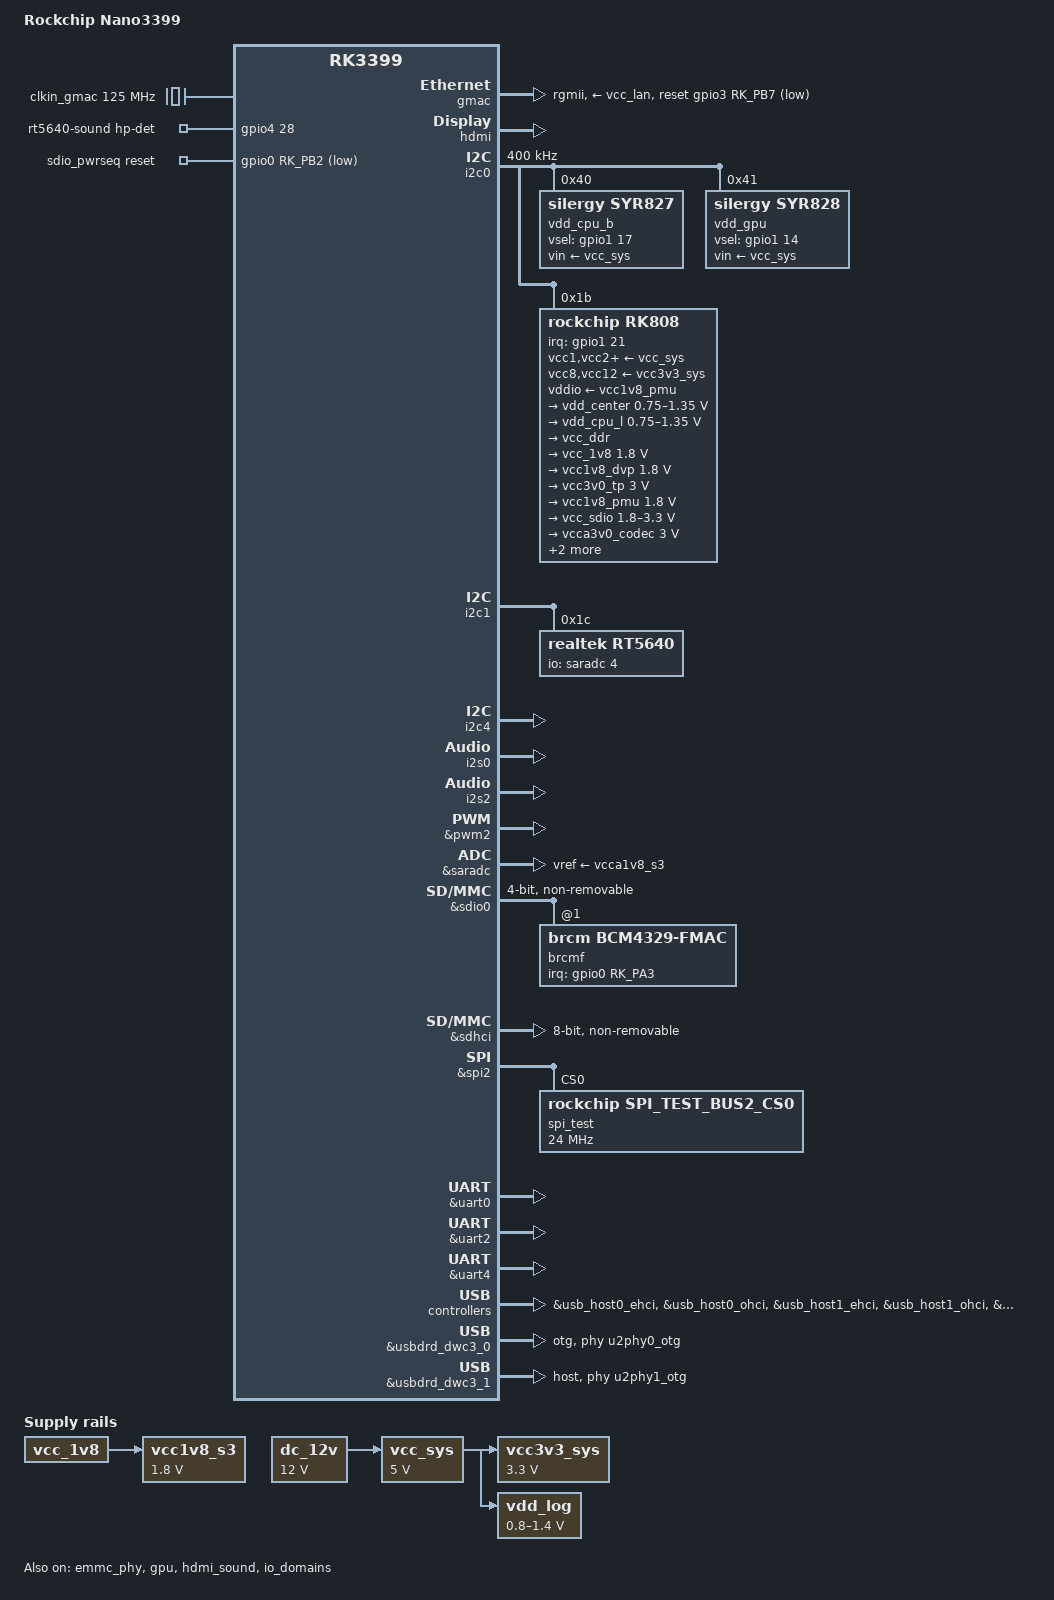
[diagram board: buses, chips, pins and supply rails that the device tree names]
// SPDX-License-Identifier: (GPL-2.0+ OR MIT)

/dts-v1/;
#include <dt-bindings/input/linux-event-codes.h>
#include <dt-bindings/pwm/pwm.h>
#include <dt-bindings/input/input.h>
#include "rk3399.dtsi"

/ {
	model = "Rockchip Nano3399";
	compatible = "rockchip,nano3399", "rockchip,rk3399";

	aliases {
		mmc0 = &sdio0;
		mmc1 = &sdmmc;
		mmc2 = &sdhci;
	};

	chosen {
		stdout-path = "serial2:1500000n8";
	};

	clkin_gmac: external-gmac-clock {
		compatible = "fixed-clock";
		clock-frequency = <125000000>;
		clock-output-names = "clkin_gmac";
		#clock-cells = <0>;
	};

	rt5640-sound {
                compatible = "simple-audio-card";
                simple-audio-card,format = "i2s";
                simple-audio-card,name = "rockchip,rt5640-codec";
                simple-audio-card,mclk-fs = <256>;
                simple-audio-card,widgets =
                        "Microphone", "Mic Jack",
                        "Headphone", "Headphone Jack",
                        "Speaker", "Speaker";
                simple-audio-card,routing =
                        "Mic Jack", "MICBIAS1",
                        "IN1P", "Mic Jack",
                        "Headphone Jack", "HPOL",
                        "Headphone Jack", "HPOR",
                        "Speaker", "SPOLP",
                        "Speaker", "SPOLN",
                        "Speaker", "SPORP",
                        "Speaker", "SPORN";
                pinctrl-names = "default";
                pinctrl-0 = <&rt5640_hp_det_gpio>;
                simple-audio-card,hp-det-gpio = <&gpio4 28 GPIO_ACTIVE_HIGH>;
                simple-audio-card,cpu {
                        sound-dai = <&i2s0>;
                };
                simple-audio-card,codec {
                        sound-dai = <&rt5640>;
                };
        };

	rp_power{
            compatible = "rp_power";
        rp_not_deep_sleep = <1>;
            status = "okay";

            /*
         * #define GPIO_FUNCTION_OUTPUT 0
         * #define GPIO_FUNCTION_INPUT 1
         * #define GPIO_FUNCTION_IRQ 2
         * #define GPIO_FUNCTION_FLASH 3
         * #define GPIO_FUNCTION_OUTPUT_CTRL 4 //output and creat proc ctrl
         *
         * you can define the gpio function as above
         * on gpio_function = <>;
     *
     *If you want to set the uboot to high level, add the lower properties
     *    regulator_uboot_on
         */

            vdd_en { //vdd5v and vdd_io power en
                    gpio_num = <&gpio4 RK_PD6 GPIO_ACTIVE_HIGH>;
                    gpio_function = <4>;
                    regulator_uboot_on;
            };

            host_en { //usb2.0 and 3.0 host 5v power en
                    gpio_num = <&gpio4 RK_PD1 GPIO_ACTIVE_HIGH>;
                    gpio_function = <4>;
                    regulator_uboot_on;
            };

            //fan { //fan en
            //        gpio_num = <&gpio1 RK_PC2 GPIO_ACTIVE_HIGH>;
            //        gpio_function = <4>;
            //        regulator_uboot_on;
            //};

            vdd_3g {    //vdd 3G power en
                    gpio_num = <&gpio4 RK_PC6 GPIO_ACTIVE_HIGH>;
                    gpio_function = <4>;
                    regulator_uboot_on;
            };

            run_led {    //LED for indicate system is runing
                    gpio_num = <&gpio4 RK_PD0 GPIO_ACTIVE_HIGH>;
                    gpio_function = <3>;
                    regulator_uboot_on;
            };

        };

        rp_gpio {
                status = "okay";
                compatible = "rp_gpio";
                base_value = <0>; //3288_5.1 = 0   3288_7.1.2 = 992  3288_ubuntu = 992   3399_7.1.2 = 1000 3399_ubuntu = 0

        gpio1a1 {
                    gpio_num = <&gpio1 RK_PA1 GPIO_ACTIVE_HIGH>;
                        gpio_function = <0>;            //0:output，1:input
                };

                gpio1a2 {
                        gpio_num = <&gpio1 RK_PA2 GPIO_ACTIVE_HIGH>;
                        gpio_function = <0>;            //0:output，1:input
                };

                gpio1a3 {
                        gpio_num = <&gpio1 RK_PA3 GPIO_ACTIVE_HIGH>;
                        gpio_function = <0>;            //0:output，1:input
                };

        gpio1c7 {
                    gpio_num = <&gpio1 RK_PC7 GPIO_ACTIVE_HIGH>;
                        gpio_function = <0>;            //0:output，1:input
                };
    };

	dc_12v: dc-12v {
        compatible = "regulator-fixed";
        regulator-name = "dc_12v";
        regulator-always-on;
        regulator-boot-on;
        regulator-min-microvolt = <12000000>;
        regulator-max-microvolt = <12000000>;
    };

    vcc1v8_s3: vcca1v8_s3: vcc1v8-s3 {
        compatible = "regulator-fixed";
        regulator-name = "vcc1v8_s3";
        regulator-always-on;
        regulator-boot-on;
        regulator-min-microvolt = <1800000>;
        regulator-max-microvolt = <1800000>;
        vin-supply = <&vcc_1v8>;
    };

    vcc3v0_sd: vcc3v0-sd {
        status = "disabled";
        compatible = "regulator-fixed";
        enable-active-high;
        gpio = <&gpio0 RK_PA1 GPIO_ACTIVE_HIGH>;
        pinctrl-names = "default";
        pinctrl-0 = <&sdmmc0_pwr_h>;
        regulator-always-on;
        regulator-max-microvolt = <3000000>;
        regulator-min-microvolt = <3000000>;
        regulator-name = "vcc3v0_sd";
        vin-supply = <&vcc3v3_sys>;
    };

    vcc3v3_sys: vcc3v3-sys {
        compatible = "regulator-fixed";
        regulator-name = "vcc3v3_sys";
        regulator-always-on;
        regulator-boot-on;
        regulator-min-microvolt = <3300000>;
        regulator-max-microvolt = <3300000>;
        vin-supply = <&vcc_sys>;
    };

    vcc_sys: vcc-sys {
        compatible = "regulator-fixed";
        regulator-name = "vcc_sys";
        regulator-always-on;
        regulator-boot-on;
        regulator-min-microvolt = <5000000>;
        regulator-max-microvolt = <5000000>;
        vin-supply = <&dc_12v>;
    };

    vdd_log: vdd-log {
        compatible = "pwm-regulator";
        pwms = <&pwm2 0 25000 1>;
        regulator-name = "vdd_log";
        regulator-always-on;
        regulator-boot-on;
        regulator-min-microvolt = <800000>;
        regulator-init-microvolt = <1050000>;
        regulator-max-microvolt = <1400000>;
		vin-supply = <&vcc_sys>;
    };

    spdif-sound {
        status = "disabled";
        compatible = "simple-audio-card";
        simple-audio-card,name = "ROCKCHIP,SPDIF";
        simple-audio-card,cpu {
            sound-dai = <&spdif>;
        };
        simple-audio-card,codec {
            sound-dai = <&spdif_out>;
        };
    };

    spdif_out: spdif-out {
        status = "disabled";
        compatible = "linux,spdif-dit";
        #sound-dai-cells = <0>;
    };

    sdio_pwrseq: sdio-pwrseq {
		compatible = "mmc-pwrseq-simple";
		clocks = <&rk808 1>;
		clock-names = "ext_clock";
		pinctrl-names = "default";
		pinctrl-0 = <&wifi_enable_h>;

		/*
		 * On the module itself this is one of these (depending
		 * on the actual card populated):
		 * - SDIO_RESET_L_WL_REG_ON
		 * - PDN (power down when low)
		 */
		reset-gpios = <&gpio0 RK_PB2 GPIO_ACTIVE_LOW>;
	};
};
&cpu_l0 {
    cpu-supply = <&vdd_cpu_l>;
};

&cpu_l1 {
    cpu-supply = <&vdd_cpu_l>;
};

&cpu_l2 {
    cpu-supply = <&vdd_cpu_l>;
};

&cpu_l3 {
    cpu-supply = <&vdd_cpu_l>;
};

&cpu_b0 {
    cpu-supply = <&vdd_cpu_b>;
};

&cpu_b1 {
    cpu-supply = <&vdd_cpu_b>;
};

&cpu_thermal {
    trips {
        cpu_hot: cpu_hot {
            hysteresis = <10000>;
            temperature = <55000>;
            type = "active";
        };
    };

    cooling-maps {
        map2 {
            //cooling-device =
            //    <&fan0 THERMAL_NO_LIMIT THERMAL_NO_LIMIT>;
            trip = <&cpu_hot>;
        };
    };
};

&emmc_phy {
	status = "okay";
};

&gpu {
    mali-supply = <&vdd_gpu>;
    status = "okay";
};


&dfi {
    status = "disabled";
};

&gmac {
    assigned-clocks = <&cru SCLK_RMII_SRC>;
    assigned-clock-parents = <&clkin_gmac>;
    clock_in_out = "input";
    phy-supply = <&vcc_lan>;
    phy-mode = "rgmii";
    pinctrl-names = "default";
    pinctrl-0 = <&rgmii_pins>;
    snps,reset-gpio = <&gpio3 RK_PB7 GPIO_ACTIVE_LOW>;
    snps,reset-active-low;
    snps,reset-delays-us = <0 10000 50000>;
    tx_delay = <0x28>;
    rx_delay = <0x11>;
    status = "okay";
};

&hdmi {
    status = "okay";
    pinctrl-names = "default";
    pinctrl-0 = <&hdmi_i2c_xfer>;
    #address-cells = <1>;
    #size-cells = <0>;
    #sound-dai-cells = <0>;
    ddc-i2c-scl-high-time-ns = <9625>;
    ddc-i2c-scl-low-time-ns = <10000>;
    status = "okay";
    rockchip,phy-table =
        <74250000  0x8009 0x0004 0x0272>,
        <165000000 0x802b 0x0004 0x0209>,
        <297000000 0x8039 0x0005 0x028d>,
        <594000000 0x8039 0x0000 0x00f6>,
        <000000000 0x0000 0x0000 0x0000>;
};

&hdmi_sound {
    status = "okay";
};

&i2c0 {
        status = "okay";
        i2c-scl-rising-time-ns = <168>;
        i2c-scl-falling-time-ns = <4>;
        clock-frequency = <400000>;

        vdd_cpu_b: syr827@40 {
                compatible = "silergy,syr827";
                reg = <0x40>;
                vin-supply = <&vcc_sys>;
                regulator-compatible = "fan53555-reg";
                pinctrl-names = "default";
                pinctrl-0 = <&vsel1_gpio>;
                vsel-gpios = <&gpio1 17 GPIO_ACTIVE_HIGH>;
                regulator-name = "vdd_cpu_b";
                regulator-min-microvolt = <712500>;
                regulator-max-microvolt = <1500000>;
                regulator-ramp-delay = <1000>;
                fcs,suspend-voltage-selector = <1>;
                regulator-always-on;
                regulator-boot-on;
                regulator-initial-state = <3>;
                        regulator-state-mem {
                        regulator-off-in-suspend;
                };
        };

        vdd_gpu: syr828@41 {
                compatible = "silergy,syr828";
                reg = <0x41>;
                vin-supply = <&vcc_sys>;
                regulator-compatible = "fan53555-reg";
                pinctrl-names = "default";
                pinctrl-0 = <&vsel2_gpio>;
                vsel-gpios = <&gpio1 14 GPIO_ACTIVE_HIGH>;
                regulator-name = "vdd_gpu";
                regulator-min-microvolt = <712500>;
                regulator-max-microvolt = <1500000>;
                regulator-ramp-delay = <1000>;
                fcs,suspend-voltage-selector = <1>;
                regulator-always-on;
                regulator-boot-on;
                regulator-initial-state = <3>;
                        regulator-state-mem {
                        regulator-off-in-suspend;
                };
        };

        rk808: pmic@1b {
                compatible = "rockchip,rk808";
                reg = <0x1b>;
                interrupt-parent = <&gpio1>;
                interrupts = <21 IRQ_TYPE_LEVEL_LOW>;
                pinctrl-names = "default";
                pinctrl-0 = <&pmic_int_l &pmic_dvs2>;
                rockchip,system-power-controller;
                wakeup-source;
                #clock-cells = <1>;
                //clock-output-names = "xin32k", "rk808-clkout2";
               clock-output-names = "rk808-clkout1", "rk808-clkout2";   //wifi

                vcc1-supply = <&vcc_sys>;
                vcc2-supply = <&vcc_sys>;
                vcc3-supply = <&vcc_sys>;
                vcc4-supply = <&vcc_sys>;
                vcc6-supply = <&vcc_sys>;
                vcc7-supply = <&vcc_sys>;
                vcc8-supply = <&vcc3v3_sys>;
                vcc9-supply = <&vcc_sys>;
                vcc10-supply = <&vcc_sys>;
                vcc11-supply = <&vcc_sys>;
                vcc12-supply = <&vcc3v3_sys>;
                vddio-supply = <&vcc1v8_pmu>;

                regulators {
                        vdd_center: DCDC_REG1 {
                                regulator-always-on;
                                regulator-boot-on;
                                regulator-min-microvolt = <750000>;
                                regulator-max-microvolt = <1350000>;
				regulator-init-microvolt = <1000000>;

                                regulator-ramp-delay = <6001>;
                                regulator-name = "vdd_center";
                                regulator-state-mem {
                                        regulator-off-in-suspend;
                                };
                        };

                        vdd_cpu_l: DCDC_REG2 {
                                regulator-always-on;
                                regulator-boot-on;
                                regulator-min-microvolt = <750000>;
                                regulator-max-microvolt = <1350000>;
                                regulator-ramp-delay = <6001>;
                                regulator-name = "vdd_cpu_l";
                                regulator-state-mem {
                                        regulator-off-in-suspend;
                                };
                        };

                        vcc_ddr: DCDC_REG3 {
                                regulator-always-on;
                                regulator-boot-on;
                                regulator-name = "vcc_ddr";
                                regulator-state-mem {
                                        regulator-on-in-suspend;
                                };
                        };

                        vcc_1v8: DCDC_REG4 {
                                regulator-always-on;
                                regulator-boot-on;
                                regulator-min-microvolt = <1800000>;
                                regulator-max-microvolt = <1800000>;
                                regulator-name = "vcc_1v8";
                                regulator-state-mem {
                                        regulator-on-in-suspend;
                                        regulator-suspend-microvolt = <1800000>;
                                };
                        };

                        vcc1v8_dvp: LDO_REG1 {
                                regulator-always-on;
                                regulator-boot-on;
                                regulator-min-microvolt = <1800000>;
                                regulator-max-microvolt = <1800000>;
                                regulator-name = "vcc1v8_dvp";
                                regulator-state-mem {
                                        regulator-off-in-suspend;
                                };
                        };

                        vcc3v0_tp: LDO_REG2 {
                                regulator-always-on;
                                regulator-boot-on;
                                regulator-min-microvolt = <3000000>;
                                regulator-max-microvolt = <3000000>;
                                regulator-name = "vcc3v0_tp";
                                regulator-state-mem {
                                        //regulator-off-in-suspend;
                                        regulator-on-in-suspend;
                                        regulator-suspend-microvolt = <3000000>;
                                };
                        };

                        vcc1v8_pmu: LDO_REG3 {
                                regulator-always-on;
                                regulator-boot-on;
                                regulator-min-microvolt = <1800000>;
                                regulator-max-microvolt = <1800000>;
                                regulator-name = "vcc1v8_pmu";
                                regulator-state-mem {
                                        regulator-on-in-suspend;
                                        regulator-suspend-microvolt = <1800000>;
                                };
                        };

                        vcc_sdio: LDO_REG4 {
                                regulator-always-on;
                                regulator-boot-on;
                                regulator-min-microvolt = <1800000>;
                                regulator-max-microvolt = <3300000>;
                                regulator-name = "vcc_sdio";
                                regulator-state-mem {
                                        regulator-off-in-suspend;
                                    //    regulator-suspend-microvolt = <3000000>;
                                };
                        };

                        vcca3v0_codec: LDO_REG5 {
                                regulator-always-on;
                                regulator-boot-on;
                                regulator-min-microvolt = <3000000>;
                                regulator-max-microvolt = <3000000>;
                                regulator-name = "vcca3v0_codec";
                                regulator-state-mem {
                                        regulator-on-in-suspend;
                                        regulator-suspend-microvolt = <3000000>;
                                };
                        };

                        vcc_1v5: LDO_REG6 {
                                regulator-always-on;
                                regulator-boot-on;
                                regulator-min-microvolt = <1500000>;
                                regulator-max-microvolt = <1500000>;
                                regulator-name = "vcc_1v5";
                                regulator-state-mem {
                                        regulator-on-in-suspend;
                                        regulator-suspend-microvolt = <1500000>;
                                };
                        };

                        vcca1v8_codec: LDO_REG7 {
                                regulator-always-on;
                                regulator-boot-on;
                                regulator-min-microvolt = <1800000>;
                                regulator-max-microvolt = <1800000>;
                                regulator-name = "vcca1v8_codec";
                                regulator-state-mem {
                                        regulator-off-in-suspend;
                                     //   regulator-suspend-microvolt = <1800000>;
                                };
                        };

                        vcc_3v0: LDO_REG8 {
                                regulator-always-on;
                                regulator-boot-on;
                                regulator-min-microvolt = <3000000>;
                                regulator-max-microvolt = <3000000>;
                                regulator-name = "vcc_3v0";
                                regulator-state-mem {
                                        regulator-on-in-suspend;
                                        regulator-suspend-microvolt = <3000000>;
                                };
                        };

                        vcc3v3_s3: vcc_lan: SWITCH_REG1 {
                                regulator-always-on;
                                regulator-boot-on;
                                regulator-name = "vcc3v3_s3";
                                regulator-state-mem {
                                        regulator-off-in-suspend;
                                };
                        };

                        vcc3v3_s0: SWITCH_REG2 {
                                regulator-always-on;
                                regulator-boot-on;
                                regulator-name = "vcc3v3_s0";
                                regulator-state-mem {
                                        regulator-off-in-suspend;
                                };
                        };
                };
        };
};

&i2c1 {
        status = "okay";
        i2c-scl-rising-time-ns = <300>;
        i2c-scl-falling-time-ns = <15>;

        rt5640: rt5640@1c {
                #sound-dai-cells = <0>;
                compatible = "realtek,rt5640";
                reg = <0x1c>;
                clocks = <&cru SCLK_I2S_8CH_OUT>;
                clock-names = "mclk";
                realtek,in1-differential;
                pinctrl-names = "default";
                pinctrl-0 = <&i2s_8ch_mclk>;
                io-channels = <&saradc 4>;
                //hp-con-gpio = <&gpio4 21 GPIO_ACTIVE_HIGH>;
                //hp-det-gpio = <&gpio4 28 GPIO_ACTIVE_HIGH>;
                hp-det-adc-value = <500>;
                status = "okay";
        };
};

&i2c4 {
    status = "okay";
};

&i2s0 {
    status = "okay";
    rockchip,playback-channels = <8>;
    rockchip,capture-channels = <8>;
    #sound-dai-cells = <0>;
};

&i2s2 {
    status = "okay";
};

&io_domains {
        status = "okay";
        bt656-supply = <&vcc_1v8>;              /* bt656_gpio2ab_ms */
        audio-supply = <&vcca1v8_codec>;        /* audio_gpio3d4a_ms */
        sdmmc-supply = <&vcc_sdio>;             /* sdmmc_gpio4b_ms */
        gpio1830-supply = <&vcc_3v0>;           /* gpio1833_gpio4cd_ms */
};

&pmu_io_domains {
        status = "okay";
        pmu1830-supply = <&vcc_3v0>;     //nano usb
};

&pinctrl {
	pmic {
                pmic_int_l: pmic-int-l {
                        rockchip,pins =
                                <1 21 RK_FUNC_GPIO &pcfg_pull_up>;
                };
                pmic_dvs2: pmic-dvs2 {
                        rockchip,pins =
                                <1 5 RK_FUNC_GPIO &pcfg_pull_down>;
                };
                vsel1_gpio: vsel1-gpio {
                        rockchip,pins =
                                <1 17 RK_FUNC_GPIO &pcfg_pull_down>;
                };
                vsel2_gpio: vsel2-gpio {
                        rockchip,pins =
                                <1 14 RK_FUNC_GPIO &pcfg_pull_down>;
                };
        };

	rt5640 {
                rt5640_hp_det_gpio: rt5640_hp_det_gpio {
                        rockchip,pins = <4 28 RK_FUNC_GPIO &pcfg_pull_none>;
                };
        };

	usb{
		otg_vbus_drv: otg-vbus-drv {
			rockchip,pins = <4 RK_PD2 RK_FUNC_GPIO &pcfg_pull_none>;
		};
	};

	sd {
		sdmmc0_pwr_h: sdmmc0-pwr-h {
			rockchip,pins =
				<0 RK_PA1 RK_FUNC_GPIO &pcfg_pull_none>;
		};
		
		sdmmc_bus4_rp: sdmmc-bus4-rp {
			rockchip,pins =
				<4 RK_PB0 1 &pcfg_pull_up_8ma>,
				<4 RK_PB1 1 &pcfg_pull_up_8ma>,
				<4 RK_PB2 1 &pcfg_pull_up_8ma>,
				<4 RK_PB3 1 &pcfg_pull_up_8ma>;
		};

		sdmmc_clk_rp: sdmmc-clk-rp {
			rockchip,pins =
				<4 RK_PB4 1 &pcfg_pull_none_12ma>;
		};

		sdmmc_cmd_rp: sdmmc-cmd-rp {
			rockchip,pins =
				<4 RK_PB5 1 &pcfg_pull_up_8ma>;
		};

		sdmmc_cd_rp: sdmmc-cd-rp {
			rockchip,pins =
				<0 RK_PA7 1 &pcfg_pull_up_8ma>;
		};
	};

	buttons {
		pwrbtn: pwrbtn {
			rockchip,pins = <0 RK_PA5 RK_FUNC_GPIO &pcfg_pull_up>;
		};
	}

	usb{
		otg_vbus_drv: otg-vbus-drv {
			rockchip,pins = <4 RK_PD2 RK_FUNC_GPIO &pcfg_pull_none>;
		};
	};

	sdio-pwrseq {
		wifi_enable_h: wifi-enable-h {
			rockchip,pins =
				<0 RK_PB2 RK_FUNC_GPIO &pcfg_pull_none>;
		};
	wireless-wlan {
                wifi_host_wake_irq: wifi-host-wake-irq {
                        rockchip,pins = <0 RK_PA3 RK_FUNC_GPIO &pcfg_pull_down>;
                };
                wifi_enable_h: wifi-enable-h {
                        rockchip,pins = <0 RK_PB2 RK_FUNC_GPIO &pcfg_pull_up>;
                };
	};
};

&pwm2 {
    status = "okay";
};

&saradc {
        status = "okay";
        vref-supply = <&vcca1v8_s3>;
};

&sdio0 {
	clock-frequency = <50000000>;
	clock-freq-min-max = <200000 50000000>;
	supports-sdio;
	bus-width = <4>;
	disable-wp;
	cap-sd-highspeed;
	cap-sdio-irq;
	keep-power-in-suspend;
	mmc-pwrseq = <&sdio_pwrseq>;
	non-removable;
	num-slots = <1>;
	pinctrl-names = "default";
	pinctrl-0 = <&sdio0_bus4 &sdio0_cmd &sdio0_clk>;
	sd-uhs-sdr104;

	#address-cells = <1>;
	#size-cells = <0>;

	status = "okay";
	  
	brcmf: wifi@1 {
		reg = <1>;
		compatible = "brcm,bcm4329-fmac";
		interrupt-parent = <&gpio0>;
		interrupts = <RK_PA3 IRQ_TYPE_LEVEL_HIGH>;
		interrupt-names = "host-wake";
		brcm,drive-strength = <5>;
		pinctrl-names = "default";
		pinctrl-0 = <&wifi_host_wake_l>;
	};
};

&sdmmc {
    broken-cd;
    bus-width = <4>;
    cap-mmc-highspeed;
    cap-sd-highspeed;
    sd-uhs-sdr104;
    clock-frequency = <150000000>;
    disable-wp;
    max-frequency = <150000000>;
    pinctrl-names = "default";
    pinctrl-0 = <&sdmmc_clk &sdmmc_cmd &sdmmc_cd &sdmmc_bus4>;
    vmmc-supply = <&vcc3v0_sd>;
    vqmmc-supply = <&vcc_sdio>;
    status = "disabled";
};

&sdhci {
    bus-width = <8>;
    mmc-hs400-1_8v;
    mmc-hs400-enhanced-strobe;
    non-removable;
    status = "okay";
}

&spi1 {
	status = "disabled";
};

&spi2 {
	status = "okay";
	max-freq = <50000000>;
	spi_test:spi_test@0 {
		status = "okay";
		compatible = "rockchip,spi_test_bus2_cs0";
		id = <2>;
		reg = <0x0>;
		spi-max-frequency = <24000000>;
		spi-cpha;
		spi-cpol;
	};
};

&tcphy0{
        status = "okay";
    tcphy0_usb3: usb3-port {
                #phy-cells = <0>;
        };
};

&tcphy1 {
    status = "okay";

    tcphy1_dp: dp-port {
        #phy-cells = <0>;
    };

    tcphy1_usb3: usb3-port {
        #phy-cells = <0>;
    };
};

&tsadc {
    /* tshut mode 0:CRU 1:GPIO */
    rockchip,hw-tshut-mode = <1>;
    /* tshut polarity 0:LOW 1:HIGH */
    rockchip,hw-tshut-polarity = <1>;
    status = "okay";
};


&u2phy0 {
        status = "okay";

        u2phy0_otg: otg-port {
                vbus-supply = <&vcc_otg_vbus>;
        status = "okay";
        };

};

&u2phy1 {
    status = "okay";

    u2phy1_host: host-port {
        status = "okay";
    };
};

&uart0 {
    pinctrl-names = "default";
    pinctrl-0 = <&uart0_xfer &uart0_cts>;
    status = "okay";
};

&uart2 {
	status = "okay";
};

&uart4 {
	status = "okay";
};

&usb_host0_ehci {
	status = "okay";
};

&usb_host0_ohci {
	status = "okay";
};

&usb_host1_ehci {
	status = "okay";
};

&usb_host1_ohci {
	status = "okay";
};

&usbdrd3_0 {
	status = "okay";
};

&usbdrd3_1 {
    status = "okay";
};

&usbdrd_dwc3_0 {
        dr_mode = "otg"; //device or host
        extcon = <&u2phy0>;
        phys = <&u2phy0_otg>, <&tcphy0_usb3>;
        phy-names = "usb2-phy", "usb3-phy";
    status = "okay";
};

&usbdrd_dwc3_1 {
    status = "okay";
    dr_mode = "host";
    phy-names = "usb2-phy", "usb3-phy";
    phys = <&u2phy1_otg>, <&tcphy1_usb3>;
};

&vopb {
	status = "okay";
};

&vopb_mmu {
	status = "okay";
};

&vopl {
	status = "okay";
};

&vopl_mmu {
	status = "okay";
};
